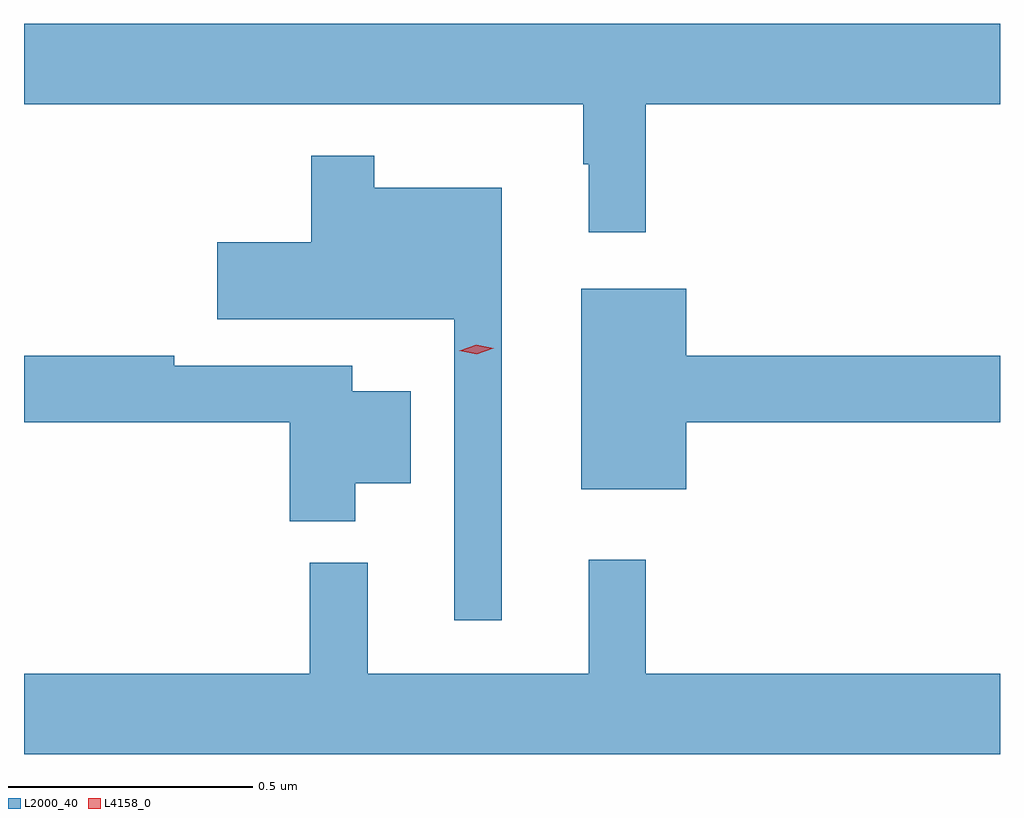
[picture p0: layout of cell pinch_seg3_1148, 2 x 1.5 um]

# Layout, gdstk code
import gdstk
lib = gdstk.Library(unit=1e-6, precision=1e-09)
def P(c, l, *ps):  # polygons
    for p in ps: c.add(gdstk.Polygon(p, *l))
L2000_40 = (2000, 40)
L4158_0 = (4158, 0)

pinch_seg3_1148 = lib.new_cell('pinch_seg3_1148')
P(pinch_seg3_1148, L2000_40, [(198.485,703.58),(199.211,703.58),(199.211,703.744),(197.211,703.744),(197.211,703.58),(198.357,703.58),(198.357,703.457),(198.368,703.457),(198.368,703.317),(198.485,703.317)],
  [(198.19,703.408),(197.929,703.408),(197.929,703.474),(197.8,703.474),(197.8,703.297),(197.607,703.297),(197.607,703.139),(198.093,703.139),(198.093,702.522),(198.19,702.522)],
  [(198.568,702.928),(199.211,702.928),(199.211,703.064),(198.568,703.064),(198.568,703.201),(198.353,703.201),(198.353,702.791),(198.568,702.791)],
  [(197.89,702.803),(198.004,702.803),(198.004,702.991),(197.884,702.991),(197.884,703.044),(197.519,703.044),(197.519,703.064),(197.211,703.064),(197.211,702.928),(197.756,702.928),(197.756,702.725),(197.89,702.725)],
  [(199.211,702.412),(198.485,702.412),(198.485,702.646),(198.368,702.646),(198.368,702.412),(197.915,702.412),(197.915,702.64),(197.797,702.64),(197.797,702.412),(197.211,702.412),(197.211,702.248),(199.211,702.248)])
P(pinch_seg3_1148, L4158_0, [(198.139,703.067),(198.103,703.074),(198.103,703.074),(198.103,703.074),(198.138,703.087),(198.174,703.08),(198.174,703.079),(198.174,703.079)])

lib.write_gds('pinch_seg3_1148.gds')
